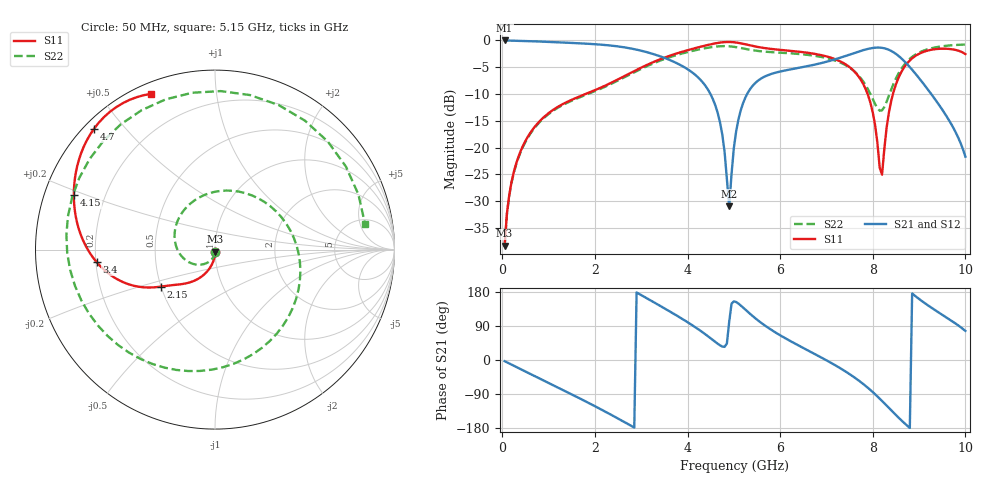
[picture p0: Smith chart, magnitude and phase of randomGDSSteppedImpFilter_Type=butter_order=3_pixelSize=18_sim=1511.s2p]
! freq	dB(S11)	phase(S11)	dB(S12)	phase(S12)
!  dB(S21)	phase(S21)	dB(S22)	phase(S22)
!S-par simulation data
#  GHz  S  DB  R 50
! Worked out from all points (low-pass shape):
!   200 points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, 50 MHz to 10 GHz, reference 50 ohm
!   highest |S21| = -0.02 dB at 50 MHz (marker M1); lowest = -31.0 dB at 4.9 GHz (marker M2)
!   |S21| within 3 dB of the highest: start of sweep to 3.422 GHz; 7.377 GHz to 8.572 GHz (1.195 GHz wide, 15 % of centre)
!   lowest |S11| = -38.3 dB at 50 MHz (marker M3), VSWR 1.02, Z = 50.1 - j1.21 ohm
!   |S11| at or under -10 dB: start of sweep to 1.802 GHz; 7.887 GHz to 8.437 GHz (549.5 MHz wide, 6.73 % of centre)
!   |S22| runs from -38.4 to -0.8 dB; largest |S21 - S12| = 0
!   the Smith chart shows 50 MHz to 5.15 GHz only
!   S11 on the Smith chart (normalised r, x): 50 MHz: 1.00, -0.02; 2.15 GHz: 0.50, -0.24; 3.4 GHz: 0.20, -0.05; 4.15 GHz: 0.09, +0.18; 4.7 GHz: 0.03, +0.41; 5.15 GHz: 0.05, +0.67
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0.05  -38.32 -83.9  -0.02 -3.1  -0.02 -3.1  -38.41 -86.1
0.2  -26.41 -94.7  -0.05 -12.2  -0.05 -12.2  -26.57 -104.4
0.5  -18.78 -107.3  -0.12 -30.4  -0.12 -30.4  -18.94 -132.2
1.75  -10.18 -140.2  -0.59 -106.1  -0.59 -106.1  -10.36 106.9
2.15  -8.73 -145.7  -0.81 -131.5  -0.81 -131.5  -8.93 61.4
2.8  -5.95 -156.8  -1.56 -174.9  -1.56 -174.9  -6.17 -14.5
3.4  -3.56 -174.0  -2.95 143.5  -2.95 143.5  -3.82 -80.7
4.15  -1.49 159.0  -6.32 88.0  -6.32 88.0  -1.87 -165.5
4.7  -0.42 135.1  -15.24 38.8  -15.24 38.8  -1.10 108.2
4.9  -0.30 124.8  -30.99 100.9  -30.99 100.9  -1.11 66.3
5.05  -0.41 117.1  -16.96 153.0  -16.96 153.0  -1.27 32.4
5.15  -0.56 112.3  -13.02 143.8  -13.02 143.8  -1.43 9.8
5.45  -1.12 100.1  -8.07 111.5  -8.07 111.5  -1.90 -50.8
5.7  -1.48 91.4  -6.62 88.5  -6.62 88.5  -2.13 -90.3
6.15  -1.90 75.4  -5.55 54.7  -5.55 54.7  -2.38 -142.7
6.7  -2.45 52.4  -4.62 18.8  -4.62 18.8  -2.83 168.8
7.75  -7.47 -14.4  -1.94 -59.1  -1.94 -59.1  -7.15 89.5
8.2  -25.07 -165.0  -1.40 -108.1  -1.40 -108.1  -13.06 107.8
8.35  -13.38 123.3  -1.77 -126.7  -1.77 -126.7  -10.29 123.9
8.95  -2.75 48.1  -6.52 165.7  -6.52 165.7  -2.51 85.6
9.5  -1.55 0.7  -12.92 119.4  -12.92 119.4  -1.10 44.7
10  -2.56 -50.1  -21.71 76.8  -21.71 76.8  -0.77 14.4
